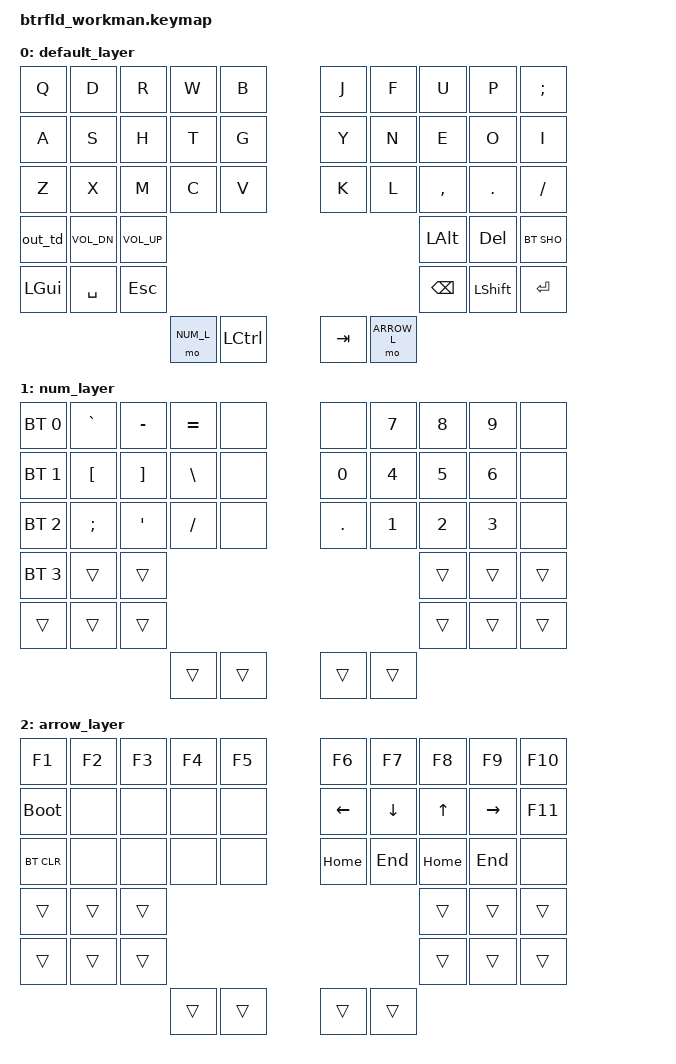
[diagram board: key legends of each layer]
#include <behaviors.dtsi>
#include <dt-bindings/zmk/keys.h>
#include <dt-bindings/zmk/midi.h>
#include <dt-bindings/zmk/bt.h>
#include <dt-bindings/zmk/outputs.h>



// go to bootloader: &bootloader
// presents key from higher layer: &trans
// no function: &none

#define DEFAULT_L  0
#define NUM_L      1
#define ARROW_L    2
#define GAME_L     3
#define GAME_FN_L  4

#define MIDI_BASE 5

#define MIDI_C_DN2  6
#define MIDI_C_DN1  7
#define MIDI_C  8
#define MIDI_C_UP1  9
#define MIDI_C_UP2  10





/ {


// switch the bt device depending on the number of taps on td0
    behaviors {
        out_td: tap_dance_0 {
            compatible = "zmk,behavior-tap-dance";
            label = "TAP_DANCE_0";
            #binding-cells = <0>;
            tapping-term-ms = <200>;
            bindings = <&out OUT_SHO>, <&out OUT_BLE>, <&out OUT_USB>;
        };
    };

    macros {
        alt_tab: alt_tab {
            compatible = "zmk,behavior-macro";
            #binding-cells = <0>;
            bindings
                = <&macro_press &kp LALT>
                , <&macro_tap &kp TAB>
                , <&macro_release &kp LALT>
                ;
        };

    };


    keymap {
        compatible = "zmk,keymap";

        default_layer {
// --------------------------------------------------------------------------------------------------------------------------------------------------------------------
// |    Q    |    W    |    E    |    R    |    T    |                                          |    Y    |    U    |    I    |    O    |    P    |
// |    A    |    S    |    D    |    F    |    G    |                                          |    H    |    J    |    K    |    L    |    ;    |
// |    Z    |    X    |    C    |    V    |    B    |                                          |    N    |    M    |    ,    |    .    |    /    |
// |BT/USB td|  VOL_DN | VOL_UP  |                                                                                  |   LALT  |   DEL   |   bt sho  |
//                               |   GUI   |   SPACE | ESC     |                      |backspace| L SHIFT |  ENTER  |
//                                         |NUM_LAYER| l_ctrl  |                      |   TAB   |ARROW_LAYER|

bindings = <
      &kp Q     &kp D     &kp R     &kp W      &kp B                                               &kp J     &kp F     &kp U     &kp P     &kp SEMI   
      &kp A     &kp S     &kp H     &kp T      &kp G                                               &kp Y     &kp N     &kp E     &kp O     &kp I
      &kp Z    &kp X     &kp M     &kp C      &kp V                                               &kp K     &kp L     &kp COMMA &kp DOT   &kp FSLH
    &out_td &kp C_VOL_DN &kp C_VOL_UP                                                                                   &kp LALT  &kp DEL   &bt BT_SHO
                                  &kp LGUI    &kp SPC   &kp ESC                         &kp BSPC  &kp LSHFT  &kp ENTER
                                              &mo NUM_L &kp LCTRL                       &kp TAB   &mo ARROW_L
            >;
        };

        num_layer {
bindings = <
   &bt BT_SEL 0   &kp GRAVE &kp MINUS &kp EQUAL   &none                                               &none     &kp N7    &kp N8    &kp N9     &none
   &bt BT_SEL 1  &kp LBKT  &kp RBKT   &kp BSLH   &none                                               &kp N0    &kp N4    &kp N5    &kp N6     &none
   &bt BT_SEL 2  &kp SEMI   &kp SQT   &kp FSLH   &none                                               &kp DOT   &kp N1    &kp N2    &kp N3    &none
   &bt BT_SEL 3  &trans    &trans                                                                                      &trans   &trans    &trans
                                   &trans    &trans   &trans                        &trans   &trans  &trans
                                             &trans   &trans                        &trans   &trans
            >;
        };

        arrow_layer {
bindings = <
      &kp F1   &kp F2  &kp F3   &kp F4   &kp F5                                          &kp F6     &kp F7      &kp F8    &kp F9     &kp F10
    &bootloader  &none  &none   &none   &none                                   &kp LEFT    &kp DOWN    &kp UP    &kp RIGHT  &kp F11
   &bt BT_CLR    &none  &none   &none   &none                                   &kp HOME    &kp END     &kp HOME  &kp END    &none
      &trans    &trans  &trans                                                                                        &trans     &trans       &trans
                                   &trans    &trans   &trans                        &trans   &trans  &trans
                                             &trans   &trans                        &trans   &trans
            >;
        };

    };
};

